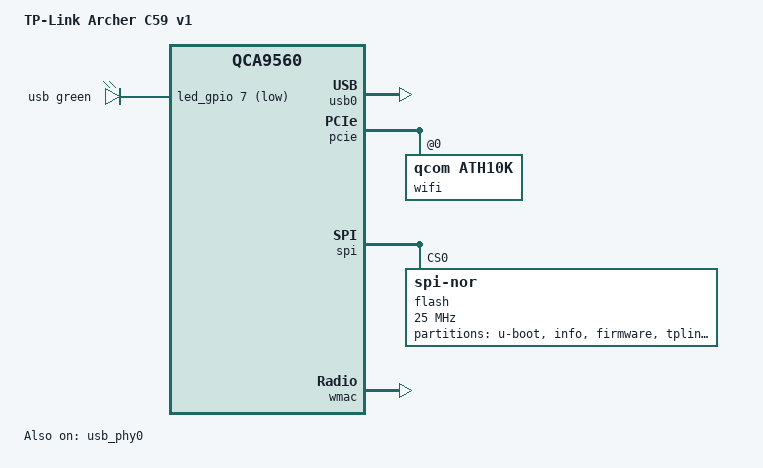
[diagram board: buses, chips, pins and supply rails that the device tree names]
// SPDX-License-Identifier: GPL-2.0-or-later OR MIT

#include <dt-bindings/leds/common.h>

#include "qca9561_tplink_archer-c5x.dtsi"

/ {
	compatible = "tplink,archer-c59-v1", "qca,qca9560";
	model = "TP-Link Archer C59 v1";

	aliases {
		label-mac-device = &eth1;
	};
};

&leds {
	usb {
		function = LED_FUNCTION_USB;
		color = <LED_COLOR_ID_GREEN>;
		gpios = <&led_gpio 7 GPIO_ACTIVE_LOW>;
		linux,default-trigger = "usbport";
		trigger-sources = <&hub_port0>;
	};
};

&usb0 {
	status = "okay";
};

&usb_phy0 {
	status = "okay";
};

&pcie {
	wifi@0,0 {
		compatible = "qcom,ath10k";
		reg = <0x0000 0 0 0 0>;
		nvmem-cells = <&precal_art_5000>, <&macaddr_info_8 (-1)>;
		nvmem-cell-names = "pre-calibration", "mac-address";
		qcom,ath10k-calibration-variant = "TP-Link-Archer-c59-v1";
	};
};

&spi {
	status = "okay";

	flash@0 {
		compatible = "jedec,spi-nor";
		reg = <0>;
		spi-max-frequency = <25000000>;

		partitions {
			compatible = "fixed-partitions";
			#address-cells = <1>;
			#size-cells = <1>;

			partition@0 {
				label = "u-boot";
				reg = <0x000000 0x010000>;
				read-only;
			};

			partition@10000 {
				label = "info";
				reg = <0x010000 0x010000>;
				read-only;

				nvmem-layout {
					compatible = "fixed-layout";
					#address-cells = <1>;
					#size-cells = <1>;

					macaddr_info_8: macaddr@8 {
						compatible = "mac-base";
						reg = <0x8 0x6>;
						#nvmem-cell-cells = <1>;
					};
				};
			};

			partition@20000 {
				compatible = "denx,uimage";
				label = "firmware";
				reg = <0x020000 0xe30000>;
			};

			partition@e50000 {
				label = "tplink";
				reg = <0xe50000 0x1a0000>;
				read-only;
			};

			partition@ff0000 {
				label = "art";
				reg = <0xff0000 0x010000>;
				read-only;

				nvmem-layout {
					compatible = "fixed-layout";
					#address-cells = <1>;
					#size-cells = <1>;

					cal_art_1000: calibration@1000 {
						reg = <0x1000 0x440>;
					};

					precal_art_5000: pre-calibration@5000 {
						reg = <0x5000 0x2f20>;
					};
				};
			};
		};
	};
};

&eth0 {
	nvmem-cells = <&macaddr_info_8 1>;
	nvmem-cell-names = "mac-address";
};

&eth1 {
	nvmem-cells = <&macaddr_info_8 0>;
	nvmem-cell-names = "mac-address";
};

&wmac {
	nvmem-cells = <&macaddr_info_8 0>, <&cal_art_1000>;
	nvmem-cell-names = "mac-address", "calibration";
};
